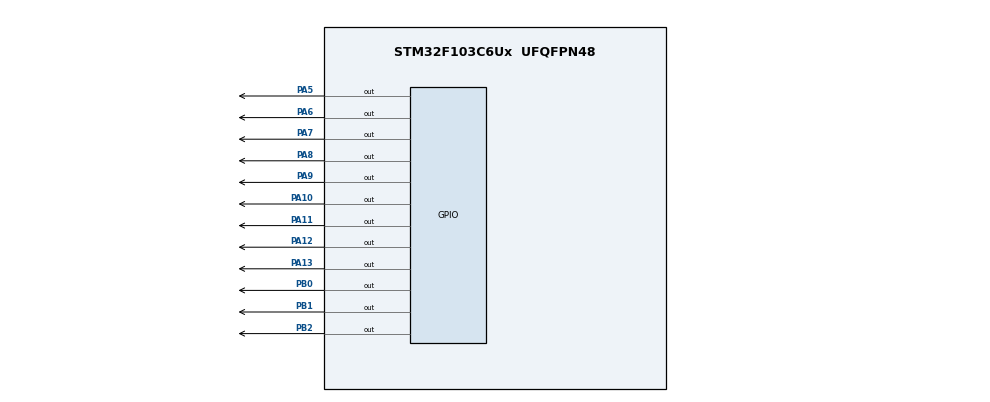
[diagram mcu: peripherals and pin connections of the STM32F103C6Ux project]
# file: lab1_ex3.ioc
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Mcu.Family=STM32F1
Mcu.Name=STM32F103C6Ux
Mcu.Package=UFQFPN48
NVIC.PriorityGroup=NVIC_PRIORITYGROUP_4
PA10.Signal=GPIO_Output
PA11.Signal=GPIO_Output
PA12.Signal=GPIO_Output
PA13.Signal=GPIO_Output
PA5.Signal=GPIO_Output
PA6.Signal=GPIO_Output
PA7.Signal=GPIO_Output
PA8.Signal=GPIO_Output
PA9.Signal=GPIO_Output
PB0.Signal=GPIO_Output
PB1.Signal=GPIO_Output
PB2.Signal=GPIO_Output
ProjectManager.HeapSize=0x200
ProjectManager.StackSize=0x400
ProjectManager.TargetToolchain=STM32CubeIDE
RCC.APB1Freq_Value=8000000
RCC.APB2Freq_Value=8000000
VP_SYS_VS_ND.Mode=No_Debug
board=custom

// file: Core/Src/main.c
/* USER CODE BEGIN Header */
/**
  ******************************************************************************
  * @file           : main.c
  * @brief          : Main program body
  ******************************************************************************
  * @attention
  *
  * <h2><center>&copy; Copyright (c) 2023 STMicroelectronics.
  * All rights reserved.</center></h2>
  *
  * This software component is licensed by ST under BSD 3-Clause license,
  * the "License"; You may not use this file except in compliance with the
  * License. You may obtain a copy of the License at:
  *                        opensource.org/licenses/BSD-3-Clause
  *
  ******************************************************************************
  */
/* USER CODE END Header */
#include "main.h"

void SystemClock_Config(void);
static void MX_GPIO_Init(void);

int main(void)
{

  /* MCU Configuration--------------------------------------------------------*/

  /* Reset of all peripherals, Initializes the Flash interface and the Systick. */
  HAL_Init();

  /* Configure the system clock */
  SystemClock_Config();

  /* Initialize all configured peripherals */
  MX_GPIO_Init();

  /* Infinite loop */
  /* USER CODE BEGIN WHILE */
  int on_sec = 0;
  HAL_GPIO_TogglePin(GPIOA, GPIO_PIN_5);
  HAL_GPIO_TogglePin(GPIOA, GPIO_PIN_7);
  HAL_GPIO_TogglePin(GPIOA, GPIO_PIN_8);
  HAL_GPIO_TogglePin(GPIOA, GPIO_PIN_10);
  HAL_GPIO_TogglePin(GPIOA, GPIO_PIN_12);
  HAL_GPIO_TogglePin(GPIOA, GPIO_PIN_13);
  HAL_GPIO_TogglePin(GPIOB, GPIO_PIN_1);
  HAL_GPIO_TogglePin(GPIOB, GPIO_PIN_2);
  while (1)
  {
	  if(on_sec == 0){
		  HAL_GPIO_TogglePin(GPIOA, GPIO_PIN_5);
		  HAL_GPIO_TogglePin(GPIOA, GPIO_PIN_6);
		  HAL_GPIO_TogglePin(GPIOA, GPIO_PIN_8);
		  HAL_GPIO_TogglePin(GPIOA, GPIO_PIN_9);
		  HAL_GPIO_TogglePin(GPIOA, GPIO_PIN_11);
		  HAL_GPIO_TogglePin(GPIOA, GPIO_PIN_13);
		  HAL_GPIO_TogglePin(GPIOB, GPIO_PIN_0);
		  HAL_GPIO_TogglePin(GPIOB, GPIO_PIN_2);
	  }else if(on_sec == 3){
		  HAL_GPIO_TogglePin(GPIOA, GPIO_PIN_12);
		  HAL_GPIO_TogglePin(GPIOA, GPIO_PIN_13);
		  HAL_GPIO_TogglePin(GPIOB, GPIO_PIN_1);
		  HAL_GPIO_TogglePin(GPIOB, GPIO_PIN_2);
	  }else if(on_sec == 5){
		  HAL_GPIO_TogglePin(GPIOA, GPIO_PIN_5);
		  HAL_GPIO_TogglePin(GPIOA, GPIO_PIN_7);
		  HAL_GPIO_TogglePin(GPIOA, GPIO_PIN_8);
		  HAL_GPIO_TogglePin(GPIOA, GPIO_PIN_10);
		  HAL_GPIO_TogglePin(GPIOA, GPIO_PIN_11);
		  HAL_GPIO_TogglePin(GPIOA, GPIO_PIN_12);
		  HAL_GPIO_TogglePin(GPIOB, GPIO_PIN_0);
		  HAL_GPIO_TogglePin(GPIOB, GPIO_PIN_1);
	  }else if(on_sec == 8){
		  HAL_GPIO_TogglePin(GPIOA, GPIO_PIN_6);
		  HAL_GPIO_TogglePin(GPIOA, GPIO_PIN_7);
		  HAL_GPIO_TogglePin(GPIOA, GPIO_PIN_9);
		  HAL_GPIO_TogglePin(GPIOA, GPIO_PIN_10);
	  }

	  on_sec++;
	  if(on_sec >= 10){
		  on_sec = 0;
	  }
    /* USER CODE END WHILE */

    /* USER CODE BEGIN 3 */
	  HAL_Delay(1000);
  }
  /* USER CODE END 3 */
}

void SystemClock_Config(void)
{
  RCC_OscInitTypeDef RCC_OscInitStruct = {0};
  RCC_ClkInitTypeDef RCC_ClkInitStruct = {0};

  /** Initializes the RCC Oscillators according to the specified parameters
  * in the RCC_OscInitTypeDef structure.
  */
  RCC_OscInitStruct.OscillatorType = RCC_OSCILLATORTYPE_HSI;
  RCC_OscInitStruct.HSIState = RCC_HSI_ON;
  RCC_OscInitStruct.HSICalibrationValue = RCC_HSICALIBRATION_DEFAULT;
  RCC_OscInitStruct.PLL.PLLState = RCC_PLL_NONE;
  if (HAL_RCC_OscConfig(&RCC_OscInitStruct) != HAL_OK)
  {
    Error_Handler();
  }
  /** Initializes the CPU, AHB and APB buses clocks
  */
  RCC_ClkInitStruct.ClockType = RCC_CLOCKTYPE_HCLK|RCC_CLOCKTYPE_SYSCLK
                              |RCC_CLOCKTYPE_PCLK1|RCC_CLOCKTYPE_PCLK2;
  RCC_ClkInitStruct.SYSCLKSource = RCC_SYSCLKSOURCE_HSI;
  RCC_ClkInitStruct.AHBCLKDivider = RCC_SYSCLK_DIV1;
  RCC_ClkInitStruct.APB1CLKDivider = RCC_HCLK_DIV1;
  RCC_ClkInitStruct.APB2CLKDivider = RCC_HCLK_DIV1;

  if (HAL_RCC_ClockConfig(&RCC_ClkInitStruct, FLASH_LATENCY_0) != HAL_OK)
  {
    Error_Handler();
  }
}

static void MX_GPIO_Init(void)
{
  GPIO_InitTypeDef GPIO_InitStruct = {0};

  /* GPIO Ports Clock Enable */
  __HAL_RCC_GPIOA_CLK_ENABLE();
  __HAL_RCC_GPIOB_CLK_ENABLE();

  /*Configure GPIO pin Output Level */
  HAL_GPIO_WritePin(GPIOA, GPIO_PIN_5|GPIO_PIN_6|GPIO_PIN_7|GPIO_PIN_8
                          |GPIO_PIN_9|GPIO_PIN_10|GPIO_PIN_11|GPIO_PIN_12
                          |GPIO_PIN_13, GPIO_PIN_RESET);

  /*Configure GPIO pin Output Level */
  HAL_GPIO_WritePin(GPIOB, GPIO_PIN_0|GPIO_PIN_1|GPIO_PIN_2, GPIO_PIN_RESET);

  /*Configure GPIO pins : PA5 PA6 PA7 PA8
                           PA9 PA10 PA11 PA12
                           PA13 */
  GPIO_InitStruct.Pin = GPIO_PIN_5|GPIO_PIN_6|GPIO_PIN_7|GPIO_PIN_8
                          |GPIO_PIN_9|GPIO_PIN_10|GPIO_PIN_11|GPIO_PIN_12
                          |GPIO_PIN_13;
  GPIO_InitStruct.Mode = GPIO_MODE_OUTPUT_PP;
  GPIO_InitStruct.Pull = GPIO_NOPULL;
  GPIO_InitStruct.Speed = GPIO_SPEED_FREQ_LOW;
  HAL_GPIO_Init(GPIOA, &GPIO_InitStruct);

  /*Configure GPIO pins : PB0 PB1 PB2 */
  GPIO_InitStruct.Pin = GPIO_PIN_0|GPIO_PIN_1|GPIO_PIN_2;
  GPIO_InitStruct.Mode = GPIO_MODE_OUTPUT_PP;
  GPIO_InitStruct.Pull = GPIO_NOPULL;
  GPIO_InitStruct.Speed = GPIO_SPEED_FREQ_LOW;
  HAL_GPIO_Init(GPIOB, &GPIO_InitStruct);

}

void Error_Handler(void)
{
  __disable_irq();
  while (1)
  {
  }
}

/************************ (C) COPYRIGHT STMicroelectronics *****END OF FILE****/
